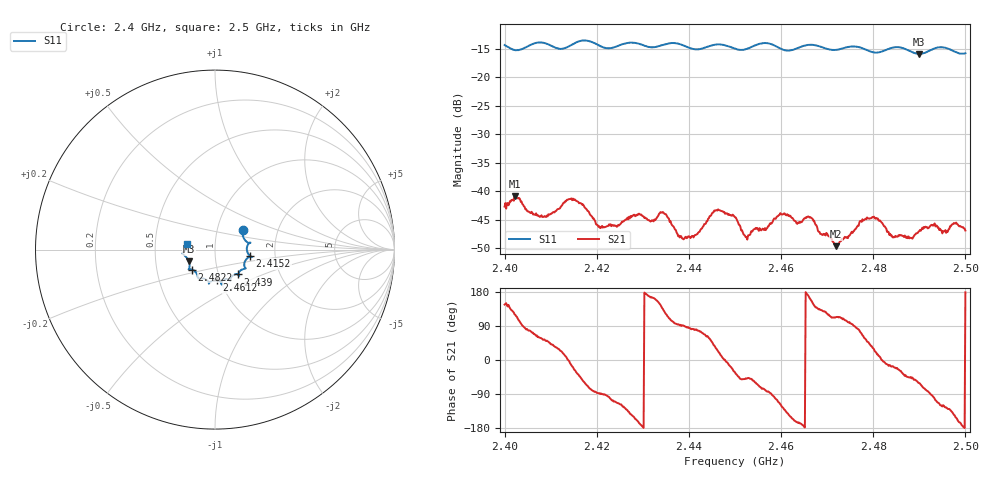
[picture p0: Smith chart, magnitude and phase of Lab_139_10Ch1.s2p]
# Hz S RI R 50
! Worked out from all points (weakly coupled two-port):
!   601 points, 2.4 GHz to 2.5 GHz, reference 50 ohm
!   highest |S21| = -40.87 dB at 2.4022 GHz (marker M1); lowest = -49.7 dB at 2.472 GHz (marker M2)
!   lowest |S11| = -15.9 dB at 2.49 GHz (marker M3), VSWR 1.38, Z = 37 - j4.87 ohm
!   |S11| at or under -10 dB: start of sweep to end of sweep
!   S12 and S22 are empty: the file has one direction only
!   S11 on the Smith chart (normalised r, x): 2.4 GHz: 1.33, +0.31; 2.4152 GHz: 1.48, -0.11; 2.439 GHz: 1.24, -0.36; 2.4612 GHz: 0.96, -0.34; 2.4822 GHz: 0.76, -0.17; 2.5 GHz: 0.72, +0.05
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2.4e9  0.156 0.1109  -0.00606 0.00406  0 0  0 0
2.402167e9  0.1559 0.0749  -0.00458 0.0078  0 0  0 0
2.408667e9  0.1954 0.0393  0.00354 0.00487  0 0  0 0
2.415167e9  0.1952 -0.036  0.00759 -0.00374  0 0  0 0
2.416667e9  0.2049 -0.042  0.00506 -0.00586  0 0  0 0
2.420833e9  0.1808 -0.0477  1.59e-05 -0.00473  0 0  0 0
2.433333e9  0.1321 -0.132  -0.0054 0.00274  0 0  0 0
2.434833e9  0.1314 -0.1433  -0.00353 0.00519  0 0  0 0
2.439e9  0.1282 -0.1383  1.32e-06 0.00382  0 0  0 0
2.4415e9  0.1039 -0.1414  0.000737 0.00405  0 0  0 0
2.445833e9  0.0855 -0.1734  0.0058 0.0035  0 0  0 0
2.45e9  0.0689 -0.164  0.00496 -0.00316  0 0  0 0
2.452667e9  0.041 -0.1729  0.00249 -0.00281  0 0  0 0
2.456667e9  0.039 -0.1955  0.000759 -0.00447  0 0  0 0
2.461167e9  0.00915 -0.171  -0.00451 -0.00415  0 0  0 0
2.466667e9  -0.0338 -0.1895  -0.00522 0.00243  0 0  0 0
2.472e9  -0.0657 -0.1611  -0.00131 0.00301  0 0  0 0
2.478167e9  -0.0971 -0.1468  0.00305 0.00474  0 0  0 0
2.482167e9  -0.1277 -0.1117  0.00505 -0.000363  0 0  0 0
2.483333e9  -0.1389 -0.1101  0.00421 -0.00116  0 0  0 0
2.49e9  -0.1464 -0.0642  0.00217 -0.00389  0 0  0 0
2.5e9  -0.1588 0.0332  -0.0045 0.000118  0 0  0 0
